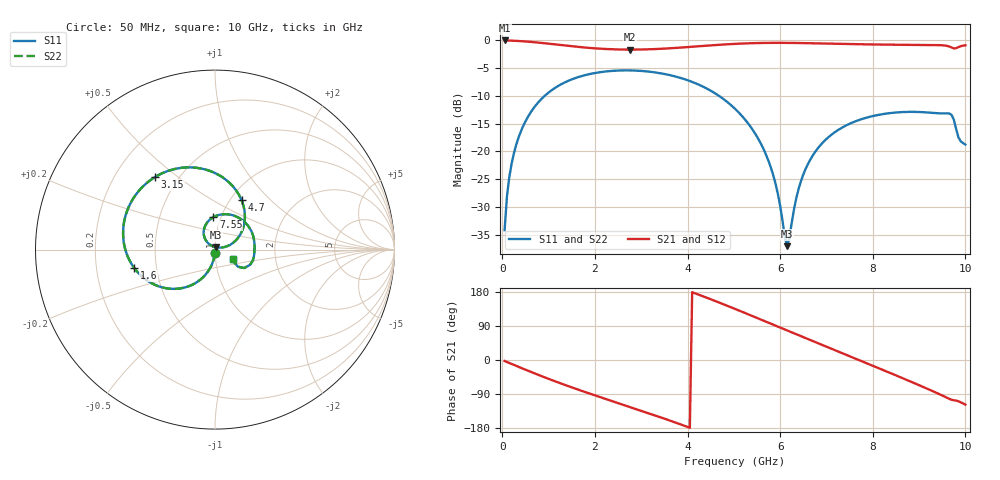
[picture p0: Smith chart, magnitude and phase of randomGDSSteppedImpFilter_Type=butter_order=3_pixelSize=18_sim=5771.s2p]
! freq	dB(S11)	phase(S11)	dB(S12)	phase(S12)
!  dB(S21)	phase(S21)	dB(S22)	phase(S22)
!S-par simulation data
#  GHz  S  DB  R 50
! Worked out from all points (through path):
!   200 points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, 50 MHz to 10 GHz, reference 50 ohm
!   highest |S21| = -0.01 dB at 50 MHz (marker M1); lowest = -1.7 dB at 2.75 GHz (marker M2)
!   group delay of S21, straight-line fit = 132 ps
!   lowest |S11| = -37.1 dB at 6.15 GHz (marker M3), VSWR 1.03, Z = 50.3 + j1.37 ohm
!   |S11| at or under -10 dB: start of sweep to 914.3 MHz; 4.681 GHz to end of sweep
!   |S22| runs from -36.9 to -5.4 dB; largest |S21 - S12| = 0
!   S11 on the Smith chart (normalised r, x): 50 MHz: 1.00, -0.04; 1.6 GHz: 0.37, -0.10; 3.15 GHz: 0.37, +0.42; 4.7 GHz: 1.13, +0.69; 7.55 GHz: 0.92, +0.34; 10 GHz: 1.22, -0.13
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0.05  -34.19 -92.6  -0.01 -2.6  -0.01 -2.6  -34.19 -92.6
0.1  -28.18 -95.5  -0.02 -5.2  -0.02 -5.2  -28.18 -95.5
0.2  -22.26 -100.9  -0.04 -10.4  -0.04 -10.4  -22.26 -100.9
0.45  -15.45 -113.5  -0.15 -23.1  -0.15 -23.1  -15.45 -113.5
1  -9.39 -140.3  -0.59 -49.8  -0.59 -49.8  -9.39 -140.3
1.6  -6.72 -167.1  -1.14 -76.5  -1.14 -76.5  -6.72 -167.2
1.75  -6.34 -173.5  -1.26 -82.9  -1.26 -82.9  -6.34 -173.5
2.75  -5.40 145.8  -1.65 -123.7  -1.65 -123.7  -5.40 145.8
3.15  -5.61 129.5  -1.60 -140.1  -1.60 -140.1  -5.61 129.5
3.4  -5.89 119.2  -1.52 -150.5  -1.52 -150.5  -5.89 119.2
4.1  -7.47 89.0  -1.14 178.9  -1.14 178.9  -7.47 89.0
4.7  -10.11 61.7  -0.78 150.8  -0.78 150.8  -10.11 61.7
5.05  -12.52 45.4  -0.61 133.6  -0.61 133.6  -12.52 45.4
5.75  -21.74 16.8  -0.44 98.3  -0.44 98.3  -21.74 16.9
6.15  -37.08 75.7  -0.44 78.0  -0.44 78.0  -36.92 75.6
6.4  -26.72 136.7  -0.47 65.4  -0.47 65.4  -26.70 136.3
6.7  -20.79 130.5  -0.51 50.2  -0.51 50.2  -20.79 130.2
7.55  -14.83 92.8  -0.66 7.5  -0.66 7.5  -14.83 92.5
8.35  -13.12 54.6  -0.77 -32.9  -0.77 -32.9  -13.12 54.3
9.2  -12.99 13.5  -0.81 -77.1  -0.81 -77.1  -13.00 13.2
9.7  -13.40 -23.2  -1.26 -104.9  -1.26 -104.9  -13.44 -23.7
10  -18.76 -26.8  -0.88 -117.7  -0.88 -117.7  -18.79 -26.9
